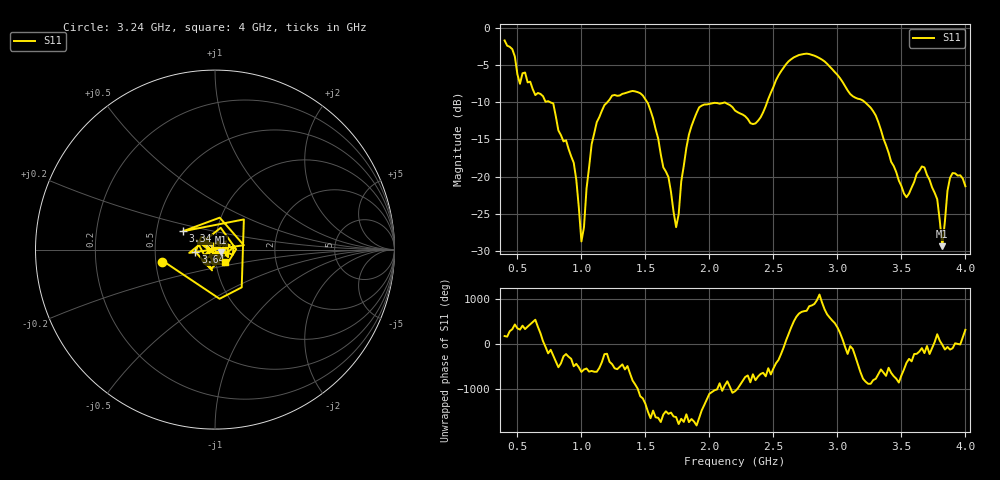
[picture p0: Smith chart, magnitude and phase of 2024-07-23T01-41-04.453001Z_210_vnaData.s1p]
!Created with skrf (http://scikit-rf.org).
# Hz S RI R 50.0
!freq ReS11 ImS11
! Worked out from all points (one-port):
!   181 points, 400 MHz to 4 GHz, reference 50 ohm
!   lowest |S11| = -29.4 dB at 3.82 GHz (marker M1), VSWR 1.07, Z = 53.2 - j1.49 ohm
!   |S11| at or under -10 dB: 758.4 MHz to 1.202 GHz (443.5 MHz wide, 45.2 % of centre); 1.515 GHz to 2.451 GHz (935.5 MHz wide, 47.2 % of centre); 3.217 GHz to end of sweep
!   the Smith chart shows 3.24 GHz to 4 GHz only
!   S11 on the Smith chart (normalised r, x): 3.24 GHz: 0.54, -0.08; 3.34 GHz: 0.68, +0.15; 3.64 GHz: 0.80, -0.02; 4 GHz: 1.10, -0.15
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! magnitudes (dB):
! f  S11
! 400 MHz  -1.7
! 520 MHz  -7.5
! 780 MHz  -10.1
! 860 MHz  -15.3
! 940 MHz  -18.1
! 1 GHz  -28.7
! 1.08 GHz  -15.6
! 1.12 GHz  -12.7
! 1.3 GHz  -9.1
! 1.52 GHz  -10.1
! 1.68 GHz  -20.1
! 1.74 GHz  -26.8
! 1.76 GHz  -25.1
! 1.82 GHz  -16.1
! 1.92 GHz  -10.7
! 2.2 GHz  -11.1
! 2.36 GHz  -12.8
! 2.66 GHz  -3.9
! 2.88 GHz  -4.2
! 3.1 GHz  -8.9
! 3.24 GHz  -10.4
! 3.34 GHz  -13.7
! 3.56 GHz  -22.3
! 3.64 GHz  -19.2
! 3.78 GHz  -23.1
! 3.82 GHz  -29.4
! 3.88 GHz  -20.2
! 4 GHz  -21.3
